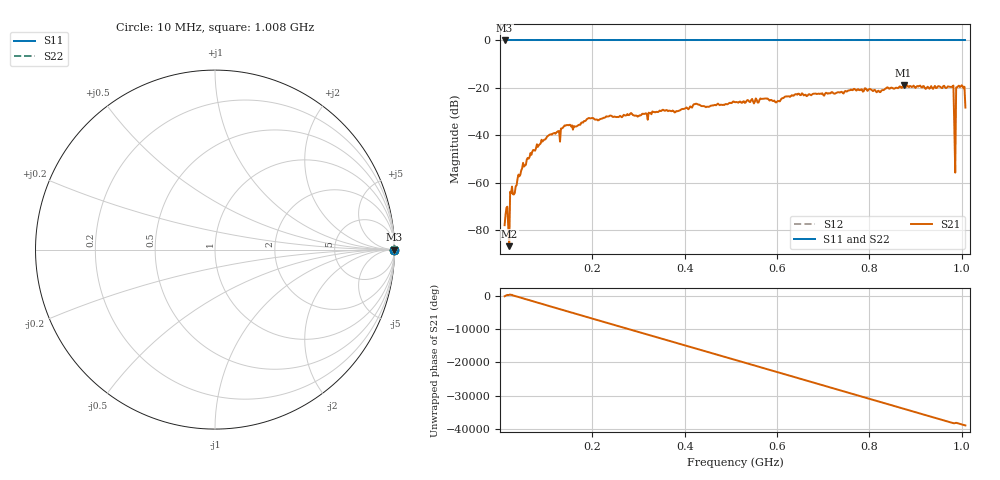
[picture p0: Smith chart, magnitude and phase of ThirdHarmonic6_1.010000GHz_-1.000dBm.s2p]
! 8/16/2025 8:18:28 AM
! C:\ANRITSUVNA\TEMP\TEMP.S2P
! CHANNEL.1
! TR.MEASUREMENT
! RAW.DATA
! RF.CORRECTION.OFF
! AVERAGING.OFF
! IF.BANDWIDTH: 5KHZ
! SWEEPTYPE:  FREQ.SWEEP(Linear)
! Reference Plane Port Info
! PORT:  PORT1  PORT2
! DISTANCE:  0  m  0  m
! TIME:  0  s  0  s
! PHASE.OFFSET:  0  deg.  0  deg.
! LOSS:  0  dB  0  dB
! REF.LOSS:  0  dB  0  dB
! REF.FREQ:  0  Hz  0  Hz
! Power Info
! POWER:  -20  dBm  -20  dBm
! EFF.POWER:  -20  dBm  -20  dBm
! SOURCE.ATTEN:  0  dB  0  dB
! TEST.ATTEN:  0  dB  0  dB
# GHZ S RI R 50.0
! FREQ.GHZ  S11RE  S11IM  S21RE  S21IM  S12RE  S12IM  S22RE  S22IM
!; PortSelection: Port_12
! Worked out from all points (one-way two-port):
!   500 points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, 10 MHz to 1.008 GHz, reference 50 ohm
!   highest |S21| = -18.81 dB at 874 MHz (marker M1); lowest = -86.6 dB at 20 MHz (marker M2)
!   lowest |S11| = 0.0 dB at 10 MHz (marker M3)
!   |S11| at or under -10 dB: nowhere
!   |S22| runs from 0.0 to 0.0 dB; largest |S21 - S12| = 1.1
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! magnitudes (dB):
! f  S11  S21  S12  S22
! 10 MHz  0.0  -77.8  0.0  0.0
! 20 MHz  0.0  -86.6  0.0  0.0
! 26 MHz  0.0  -61.5  0.0  0.0
! 32 MHz  0.0  -64.2  0.0  0.0
! 46 MHz  0.0  -54.7  0.0  0.0
! 70 MHz  0.0  -46.8  0.0  0.0
! 142 MHz  0.0  -35.9  0.0  0.0
! 178 MHz  0.0  -34.5  0.0  0.0
! 344 MHz  0.0  -29.9  0.0  0.0
! 510 MHz  0.0  -26.0  0.0  0.0
! 600 MHz  0.0  -25.8  0.0  0.0
! 676 MHz  0.0  -22.7  0.0  0.0
! 842 MHz  0.0  -20.2  0.0  0.0
! 874 MHz  0.0  -18.8  0.0  0.0
! 978 MHz  0.0  -19.5  0.0  0.0
! 980 MHz  0.0  -19.4  0.0  0.0
! 982 MHz  0.0  -19.0  0.0  0.0
! 988 MHz  0.0  -19.8  0.0  0.0
! 990 MHz  0.0  -19.7  0.0  0.0
! 992 MHz  0.0  -19.3  0.0  0.0
! 1.002 GHz  0.0  -19.3  0.0  0.0
! 1.008 GHz  0.0  -28.3  0.0  0.0
